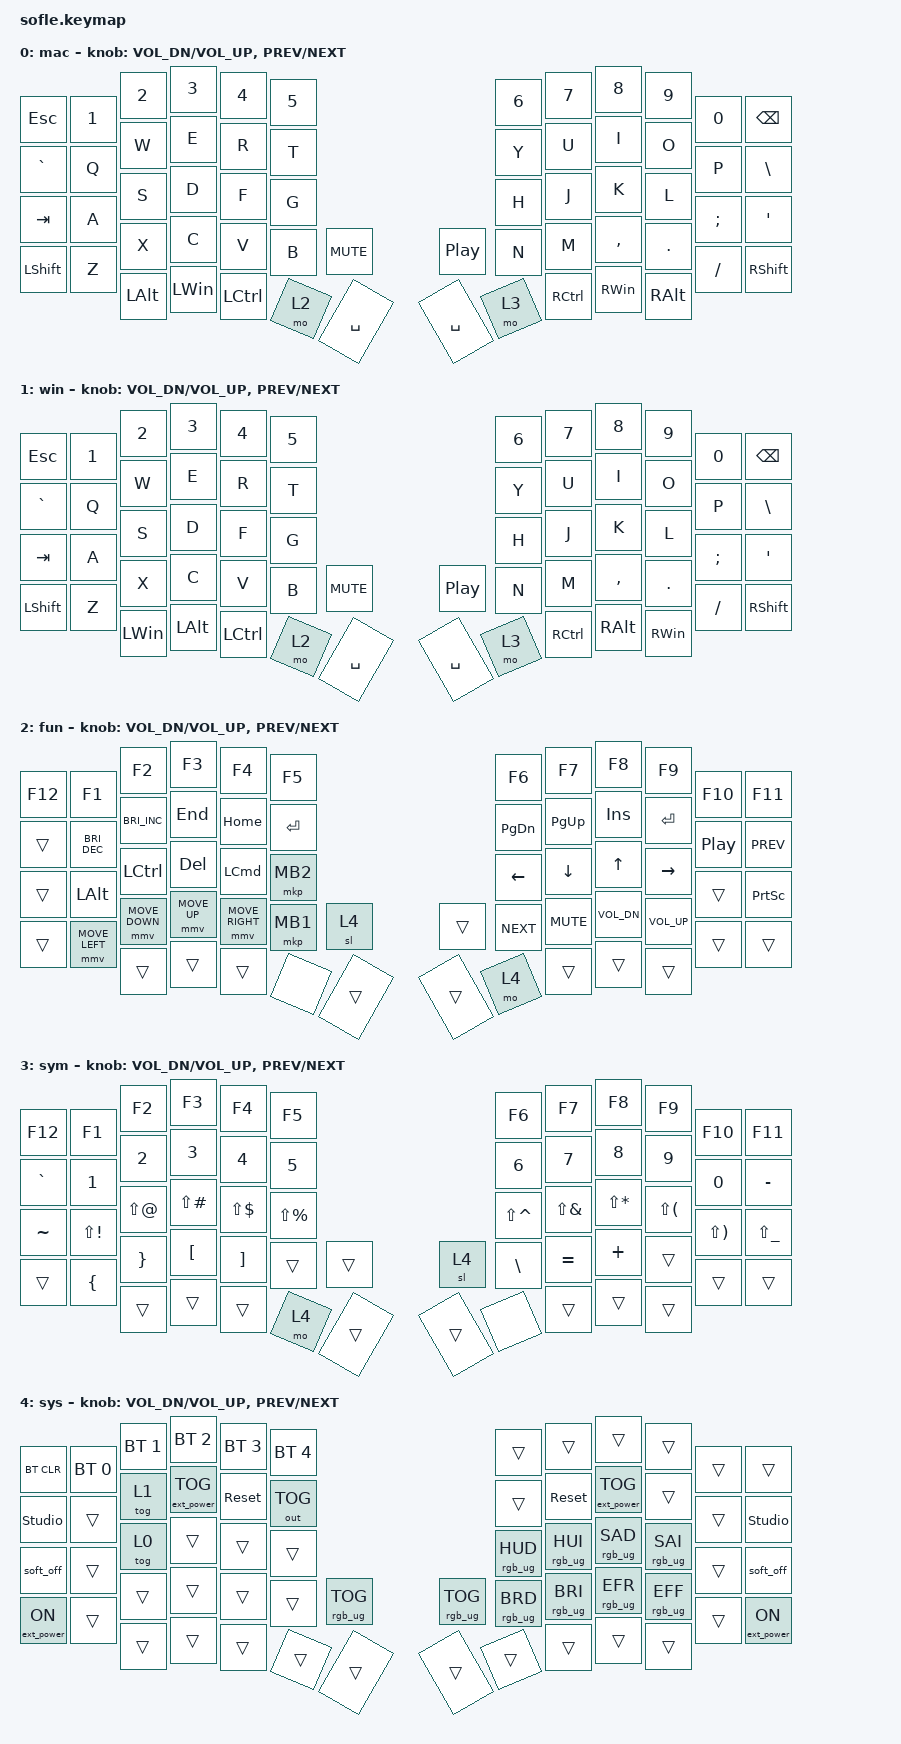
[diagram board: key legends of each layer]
/*
 * Copyright (c) 2020 The ZMK Contributors
 *
 * SPDX-License-Identifier: MIT
 */

#include <behaviors.dtsi>
#include <dt-bindings/zmk/bt.h>
#include <dt-bindings/zmk/ext_power.h>
#include <dt-bindings/zmk/keys.h>
#include <dt-bindings/zmk/outputs.h>
#include <dt-bindings/zmk/pointing.h>
#include <dt-bindings/zmk/rgb.h>

#define MAC    0
#define WIN    1
#define FUNC   2
#define SYMB   3
#define SYS    4

/ {
    // Activate ADJUST layer by pressing raise and lower

    conditional_layers { compatible = "zmk,conditional-layers"; };

    combos { compatible = "zmk,combos"; };

    keymap {
        compatible = "zmk,keymap";

        mac {
            label = "mac";

            // ------------------------------------------------------------------------------------------------------------
            // |   `   |  1  |  2  |  3   |  4   |  5   |                   |  6   |  7    |  8    |  9   |   0   |       |
            // |  ESC  |  Q  |  W  |  E   |  R   |  T   |                   |  Y   |  U    |  I    |  O   |   P   | BKSPC |
            // |  TAB  |  A  |  S  |  D   |  F   |  G   |                   |  H   |  J    |  K    |  L   |   ;   |   '   |
            // | SHIFT |  Z  |  X  |  C   |  V   |  B   |  MUTE  |  |       |  N   |  M    |  ,    |  .   |   /   | SHIFT |
            //               | GUI | ALT  | CTRL | LOWER|  ENTER |  | SPACE | RAISE| CTRL  | ALT   | GUI  |

            bindings = <
&kp ESCAPE  &kp N1  &kp N2        &kp N3        &kp N4     &kp N5                                  &kp N6  &kp N7     &kp N8         &kp N9         &kp N0    &kp BACKSPACE
&kp GRAVE   &kp Q   &kp W         &kp E         &kp R      &kp T                                   &kp Y   &kp U      &kp I          &kp O          &kp P     &kp BACKSLASH
&kp TAB     &kp A   &kp S         &kp D         &kp F      &kp G                                   &kp H   &kp J      &kp K          &kp L          &kp SEMI  &kp SQT
&kp LSHFT   &kp Z   &kp X         &kp C         &kp V      &kp B   &kp C_MUTE    &kp C_PLAY_PAUSE  &kp N   &kp M      &kp COMMA      &kp DOT        &kp FSLH  &kp RSHFT
                    &kp LEFT_ALT  &kp LEFT_WIN  &kp LCTRL  &mo 2   &kp SPACE     &kp SPACE         &mo 3   &kp RCTRL  &kp RIGHT_WIN  &kp RIGHT_ALT
            >;

            sensor-bindings =
                <&inc_dec_kp C_VOL_DN C_VOLUME_UP>,
                <&inc_dec_kp C_PREV C_NEXT>;
        };

        windows {
            label = "win";
            bindings = <
&kp ESCAPE  &kp N1  &kp N2        &kp N3        &kp N4     &kp N5                                  &kp N6  &kp N7     &kp N8     &kp N9         &kp N0    &kp BACKSPACE
&kp GRAVE   &kp Q   &kp W         &kp E         &kp R      &kp T                                   &kp Y   &kp U      &kp I      &kp O          &kp P     &kp BACKSLASH
&kp TAB     &kp A   &kp S         &kp D         &kp F      &kp G                                   &kp H   &kp J      &kp K      &kp L          &kp SEMI  &kp SQT
&kp LSHFT   &kp Z   &kp X         &kp C         &kp V      &kp B   &kp C_MUTE    &kp C_PLAY_PAUSE  &kp N   &kp M      &kp COMMA  &kp DOT        &kp FSLH  &kp RSHFT
                    &kp LEFT_WIN  &kp LEFT_ALT  &kp LCTRL  &mo 2   &kp SPACE     &kp SPACE         &mo 3   &kp RCTRL  &kp RALT   &kp RIGHT_WIN
            >;

            sensor-bindings =
                <&inc_dec_kp C_VOL_DN C_VOL_UP>,
                <&inc_dec_kp C_PREV C_NEXT>;
        };

        func {
            label = "fun";

            // TODO: Some binds are waiting for shifted keycode support.
            // ------------------------------------------------------------------------------------------------------------
            // |       |  F1 |  F2 |  F3  |  F4  |  F5  |                   |  F6  |  F7   |  F8   |  F9  |  F10  |  F11  |
            // |   `   |  1  |  2  |  3   |  4   |  5   |                   |  6   |  7    |  8    |  9   |   0   |  F12  |
            // |       |  !  |  @  |  #   |  $   |  %   |                   |  ^   |  &    |  *    |  (   |   )   |   |   |
            // |       |  =  |  -  |  +   |  {   |  }   |        |  |       |  [   |  ]    |  ;    |  :   |   \   |       |
            //               |     |      |      |      |        |  |       |      |       |       |      |

            bindings = <
&kp F12  &kp F1                &kp F2                &kp F3        &kp F4            &kp F5                       &kp F6         &kp F7      &kp F8        &kp F9        &kp F10           &kp F11
&trans   &kp C_BRIGHTNESS_DEC  &kp C_BRIGHTNESS_INC  &kp END       &kp HOME          &kp ENTER                    &kp PAGE_DOWN  &kp PG_UP   &kp INSERT    &kp ENTER     &kp C_PLAY_PAUSE  &kp C_PREV
&trans   &kp LEFT_ALT          &kp LCTRL             &kp DELETE    &kp LEFT_COMMAND  &mkp MB2                     &kp LEFT       &kp DOWN    &kp UP_ARROW  &kp RIGHT     &trans            &kp PRINTSCREEN
&trans   &mmv MOVE_LEFT        &mmv MOVE_DOWN        &mmv MOVE_UP  &mmv MOVE_RIGHT   &mkp MB1   &sl 4     &trans  &kp C_NEXT     &kp C_MUTE  &kp C_VOL_DN  &kp C_VOL_UP  &trans            &trans
                               &trans                &trans        &trans            &none      &trans    &trans  &mo 4          &trans      &trans        &trans
            >;

            sensor-bindings =
                <&inc_dec_kp C_VOL_DN C_VOL_UP>,
                <&inc_dec_kp C_PREV C_NEXT>;
        };

        symbols {
            label = "sym";

            // ------------------------------------------------------------------------------------------------------------
            // | BTCLR | BT1  | BT2  |  BT3  |  BT4  |  BT5 |                |      |      |       |      |       |       |
            // |       | INS  | PSCR | GUI   |       |      |                | PGUP |      |   ^   |      |       |       |
            // |       | ALT  | CTRL | SHIFT |       | CAPS |                | PGDN |   <- |   v   |  ->  |  DEL  | BKSPC |
            // |       | UNDO | CUT  | COPY  | PASTE |      |      |  |      |      |      |       |      |       |       |
            //                |      |       |       |      |      |  |      |      |      |       |      |

            bindings = <
&kp F12    &kp F1          &kp F2           &kp F3            &kp F4             &kp F5                           &kp F6         &kp F7        &kp F8        &kp F9        &kp F10       &kp F11
&kp GRAVE  &kp NUMBER_1    &kp N2           &kp N3            &kp N4             &kp N5                           &kp N6         &kp N7        &kp N8        &kp N9        &kp N0        &kp MINUS
&kp TILDE  &kp LS(EXCL)    &kp LS(AT)       &kp LS(POUND)     &kp LS(DLLR)       &kp LS(PRCNT)                    &kp LS(CARET)  &kp LS(AMPS)  &kp LS(STAR)  &kp LS(LPAR)  &kp LS(RPAR)  &kp LS(UNDER)
&trans     &kp LEFT_BRACE  &kp RIGHT_BRACE  &kp LEFT_BRACKET  &kp RIGHT_BRACKET  &trans         &trans    &sl 4   &kp BACKSLASH  &kp EQUAL     &kp PLUS      &trans        &trans        &trans
                           &trans           &trans            &trans             &mo 4          &trans    &trans  &none          &trans        &trans        &trans
            >;

            sensor-bindings =
                <&inc_dec_kp C_VOL_DN C_VOL_UP>,
                <&inc_dec_kp C_PREV C_NEXT>;
        };

        system {
            // ----------------------------------------------------------------------------------------------------------------------------
            // | BTCLR  |  BT1    |  BT2    |   BT3   |   BT4   |   BT5   |                  |      |      |       |      |       |       |
            // | EXTPWR | RGB_HUD | RGB_HUI | RGB_SAD | RGB_SAI | RGB_EFF |                  |      |      |       |      |       |       |
            // |        | RGB_BRD | RGB_BRI |         |         |         |                  |      |      |       |      |       |       |
            // |        |         |         |         |         |         | RGB_TOG | |      |      |      |       |      |       |       |
            //                    |         |         |         |         |         | |      |      |      |       |      |

            label = "sys";
            bindings = <
&bt BT_CLR        &bt BT_SEL 0  &bt BT_SEL 1  &bt BT_SEL 2       &bt BT_SEL 3  &bt BT_SEL 4                                      &trans           &trans           &trans             &trans           &trans  &trans
&studio_unlock    &trans        &tog 1        &ext_power EP_TOG  &sys_reset    &out OUT_TOG                                      &trans           &sys_reset       &ext_power EP_TOG  &trans           &trans  &studio_unlock
&soft_off         &trans        &tog 0        &trans             &trans        &trans                                            &rgb_ug RGB_HUD  &rgb_ug RGB_HUI  &rgb_ug RGB_SAD    &rgb_ug RGB_SAI  &trans  &soft_off
&ext_power EP_ON  &trans        &trans        &trans             &trans        &trans        &rgb_ug RGB_TOG    &rgb_ug RGB_TOG  &rgb_ug RGB_BRD  &rgb_ug RGB_BRI  &rgb_ug RGB_EFR    &rgb_ug RGB_EFF  &trans  &ext_power EP_ON
                                &trans        &trans             &trans        &trans        &trans             &trans           &trans           &trans           &trans             &trans
            >;

            sensor-bindings =
                <&inc_dec_kp C_VOL_DN C_VOL_UP>,
                <&inc_dec_kp C_PREV C_NEXT>;
        };
    };
};
